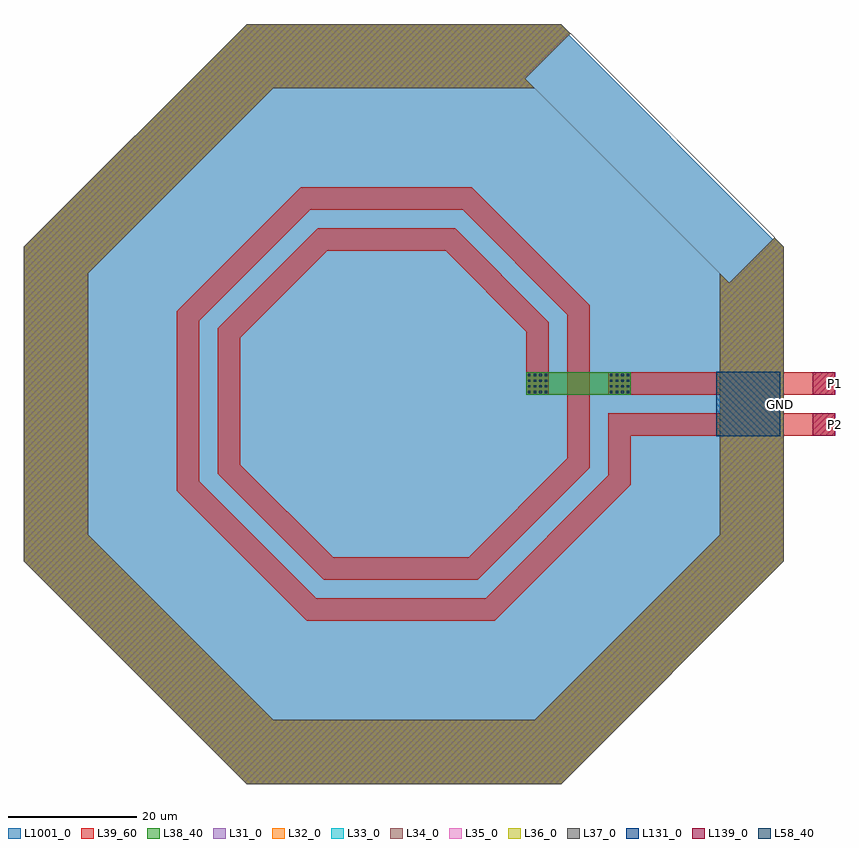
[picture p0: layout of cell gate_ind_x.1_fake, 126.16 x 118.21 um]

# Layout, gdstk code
import gdstk
lib = gdstk.Library(unit=1e-6, precision=1e-09)
def R(c, l, rs):  # rectangles x0, y0, x1, y1
    for r in rs: c.add(gdstk.rectangle(r[:2], r[2:], *l))
def A(c, l, x, y, w, h, nx, ny, dx, dy):  # array of equal rectangles
    R(c, l, [(x+i*dx, y+j*dy, x+i*dx+w, y+j*dy+h) for i in range(nx) for j in range(ny)])
def P(c, l, *ps):  # polygons
    for p in ps: c.add(gdstk.Polygon(p, *l))
L31_0 = (31, 0)
L32_0 = (32, 0)
L33_0 = (33, 0)
L34_0 = (34, 0)
L35_0 = (35, 0)
L36_0 = (36, 0)
L37_0 = (37, 0)
L38_40 = (38, 40)
L39_60 = (39, 60)
L58_40 = (58, 40)
L131_0 = (131, 0)
L139_0 = (139, 0)
L1001_0 = (1001, 0)

gate_ind_x_1_fake = lib.new_cell('gate_ind_x.1_fake')
P(gate_ind_x_1_fake, L31_0, [(50.567,18.875),(57.638,25.946),(24.481,59.103),(-24.481,59.103),(-59.103,24.481),(-59.103,-24.481),(-24.481,-59.103),(24.481,-59.103),(59.103,-24.481),(59.103,24.481),(25.946,57.638),(18.875,50.567),(49.103,20.339),(49.103,-20.339),(20.339,-49.103),(-20.339,-49.103),(-49.103,-20.339),(-49.103,20.339),(-20.339,49.103),(20.339,49.103)])
P(gate_ind_x_1_fake, L32_0, [(50.567,18.875),(57.638,25.946),(24.481,59.103),(-24.481,59.103),(-59.103,24.481),(-59.103,-24.481),(-24.481,-59.103),(24.481,-59.103),(59.103,-24.481),(59.103,24.481),(25.946,57.638),(18.875,50.567),(49.103,20.339),(49.103,-20.339),(20.339,-49.103),(-20.339,-49.103),(-49.103,-20.339),(-49.103,20.339),(-20.339,49.103),(20.339,49.103)])
P(gate_ind_x_1_fake, L33_0, [(50.567,18.875),(57.638,25.946),(24.481,59.103),(-24.481,59.103),(-59.103,24.481),(-59.103,-24.481),(-24.481,-59.103),(24.481,-59.103),(59.103,-24.481),(59.103,24.481),(25.946,57.638),(18.875,50.567),(49.103,20.339),(49.103,-20.339),(20.339,-49.103),(-20.339,-49.103),(-49.103,-20.339),(-49.103,20.339),(-20.339,49.103),(20.339,49.103)])
P(gate_ind_x_1_fake, L34_0, [(50.567,18.875),(57.638,25.946),(24.481,59.103),(-24.481,59.103),(-59.103,24.481),(-59.103,-24.481),(-24.481,-59.103),(24.481,-59.103),(59.103,-24.481),(59.103,24.481),(25.946,57.638),(18.875,50.567),(49.103,20.339),(49.103,-20.339),(20.339,-49.103),(-20.339,-49.103),(-49.103,-20.339),(-49.103,20.339),(-20.339,49.103),(20.339,49.103)])
P(gate_ind_x_1_fake, L35_0, [(50.567,18.875),(57.638,25.946),(24.481,59.103),(-24.481,59.103),(-59.103,24.481),(-59.103,-24.481),(-24.481,-59.103),(24.481,-59.103),(59.103,-24.481),(59.103,24.481),(25.946,57.638),(18.875,50.567),(49.103,20.339),(49.103,-20.339),(20.339,-49.103),(-20.339,-49.103),(-49.103,-20.339),(-49.103,20.339),(-20.339,49.103),(20.339,49.103)])
P(gate_ind_x_1_fake, L36_0, [(50.567,18.875),(57.638,25.946),(24.481,59.103),(-24.481,59.103),(-59.103,24.481),(-59.103,-24.481),(-24.481,-59.103),(24.481,-59.103),(59.103,-24.481),(59.103,24.481),(25.946,57.638),(18.875,50.567),(49.103,20.339),(49.103,-20.339),(20.339,-49.103),(-20.339,-49.103),(-49.103,-20.339),(-49.103,20.339),(-20.339,49.103),(20.339,49.103)])
P(gate_ind_x_1_fake, L37_0, [(50.567,18.875),(57.638,25.946),(24.481,59.103),(-24.481,59.103),(-59.103,24.481),(-59.103,-24.481),(-24.481,-59.103),(24.481,-59.103),(59.103,-24.481),(59.103,24.481),(25.946,57.638),(18.875,50.567),(49.103,20.339),(49.103,-20.339),(20.339,-49.103),(-20.339,-49.103),(-49.103,-20.339),(-49.103,20.339),(-20.339,49.103),(20.339,49.103)])
R(gate_ind_x_1_fake, L38_40, [(19.06,1.44,35.31,4.94)])
P(gate_ind_x_1_fake, L38_40, [(50.567,18.875),(57.638,25.946),(24.481,59.103),(-24.481,59.103),(-59.103,24.481),(-59.103,-24.481),(-24.481,-59.103),(24.481,-59.103),(59.103,-24.481),(59.103,24.481),(25.946,57.638),(18.875,50.567),(49.103,20.339),(49.103,-20.339),(20.339,-49.103),(-20.339,-49.103),(-49.103,-20.339),(-49.103,20.339),(-20.339,49.103),(20.339,49.103)])
R(gate_ind_x_1_fake, L39_60, [(31.81,-4.94,67.06,-1.44), (31.81,1.44,67.06,4.94)])
P(gate_ind_x_1_fake, L39_60, [(19.06,1.44),(22.56,1.44),(22.56,12.725),(7.945,27.34),(-13.385,27.34),(-28.935,11.79),(-28.935,-10.86),(-12.45,-27.34),(11.52,-27.34),(28.935,-9.925),(28.935,15.365),(10.585,33.715),(-16.025,33.715),(-35.31,14.435),(-35.31,-13.5),(-15.095,-33.715),(14.16,-33.715),(35.31,-12.565),(35.31,-3.19),(31.81,-3.19),(31.81,-11.115),(12.71,-30.215),(-13.645,-30.215),(-31.81,-12.05),(-31.81,12.985),(-14.575,30.215),(9.135,30.215),(25.435,13.915),(25.435,-8.475),(10.07,-23.84),(-11,-23.84),(-25.435,-9.41),(-25.435,10.34),(-11.935,23.84),(6.495,23.84),(19.06,11.275)],
  [(50.567,18.875),(57.638,25.946),(24.481,59.103),(-24.481,59.103),(-59.103,24.481),(-59.103,-24.481),(-24.481,-59.103),(24.481,-59.103),(59.103,-24.481),(59.103,24.481),(25.946,57.638),(18.875,50.567),(49.103,20.339),(49.103,-20.339),(20.339,-49.103),(-20.339,-49.103),(-49.103,-20.339),(-49.103,20.339),(-20.339,49.103),(20.339,49.103)])
A(gate_ind_x_1_fake, L58_40, 19.33, 1.708, 0.35, 0.35, 4, 3, 0.87, 0.87)
A(gate_ind_x_1_fake, L58_40, 32.08, 1.708, 0.35, 0.35, 4, 3, 0.87, 0.87)
A(gate_ind_x_1_fake, L58_40, 19.33, 4.317, 0.35, 0.35, 4, 1, 0.87, 0)
A(gate_ind_x_1_fake, L58_40, 32.08, 4.317, 0.35, 0.35, 4, 1, 0.87, 0)
R(gate_ind_x_1_fake, L131_0, [(48.56,-5,58.56,5)])
R(gate_ind_x_1_fake, L139_0, [(63.56,-4.94,67.06,-1.44), (63.56,1.44,67.06,4.94)])
P(gate_ind_x_1_fake, L1001_0, [(58.722,24.323),(24.323,58.722),(-24.323,58.722),(-58.722,24.323),(-58.722,-24.323),(-24.323,-58.722),(24.323,-58.722),(58.722,-24.323)],
  [(58.722,24.323),(24.323,58.722),(-24.323,58.722),(-58.722,24.323),(-58.722,-24.323),(-24.323,-58.722),(24.323,-58.722),(58.722,-24.323)],
  [(58.722,24.323),(24.323,58.722),(-24.323,58.722),(-58.722,24.323),(-58.722,-24.323),(-24.323,-58.722),(24.323,-58.722),(58.722,-24.323)],
  [(58.722,24.323),(24.323,58.722),(-24.323,58.722),(-58.722,24.323),(-58.722,-24.323),(-24.323,-58.722),(24.323,-58.722),(58.722,-24.323)],
  [(58.722,24.323),(24.323,58.722),(-24.323,58.722),(-58.722,24.323),(-58.722,-24.323),(-24.323,-58.722),(24.323,-58.722),(58.722,-24.323)],
  [(58.722,24.323),(24.323,58.722),(-24.323,58.722),(-58.722,24.323),(-58.722,-24.323),(-24.323,-58.722),(24.323,-58.722),(58.722,-24.323)],
  [(58.722,24.323),(24.323,58.722),(-24.323,58.722),(-58.722,24.323),(-58.722,-24.323),(-24.323,-58.722),(24.323,-58.722),(58.722,-24.323)],
  [(58.722,24.323),(24.323,58.722),(-24.323,58.722),(-58.722,24.323),(-58.722,-24.323),(-24.323,-58.722),(24.323,-58.722),(58.722,-24.323)],
  [(58.722,24.323),(24.323,58.722),(-24.323,58.722),(-58.722,24.323),(-58.722,-24.323),(-24.323,-58.722),(24.323,-58.722),(58.722,-24.323)])
gate_ind_x_1_fake.add(gdstk.Label('P1', (67.06,3.187), layer=139, texttype=0))
gate_ind_x_1_fake.add(gdstk.Label('P2', (67.06,-3.187), layer=139, texttype=0))
gate_ind_x_1_fake.add(gdstk.Label('GND', (58.56,0), layer=131, texttype=0))

lib.write_gds('gate_ind_x.1_fake.gds')
